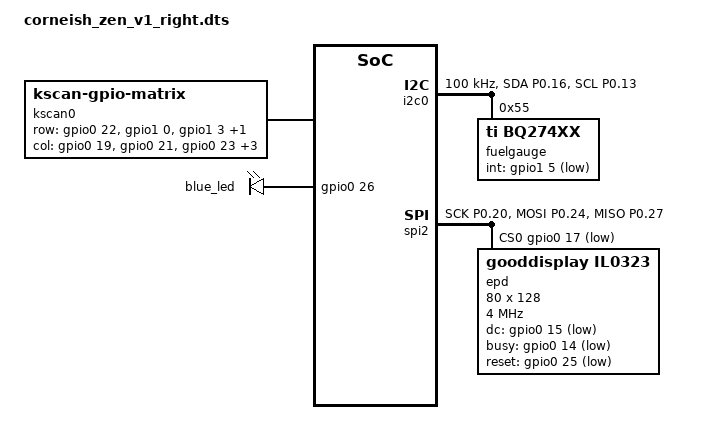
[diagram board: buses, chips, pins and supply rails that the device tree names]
/*
*
* Copyright (c) 2021 Darryl deHaan
* SPDX-License-Identifier: MIT
*
*/

#include "corneish_zen.dtsi"

/{
    chosen {
        zephyr,display = &epd;
        zmk,battery = &fuelgauge;
    };

    kscan0: kscan {
        compatible = "zmk,kscan-gpio-matrix";

        diode-direction = "col2row";
        row-gpios
            = <&gpio0 22 (GPIO_ACTIVE_HIGH | GPIO_PULL_DOWN)>
            , <&gpio1  0 (GPIO_ACTIVE_HIGH | GPIO_PULL_DOWN)>
            , <&gpio1  3 (GPIO_ACTIVE_HIGH | GPIO_PULL_DOWN)>
            , <&gpio1  1 (GPIO_ACTIVE_HIGH | GPIO_PULL_DOWN)>
            ;

        col-gpios
            = <&gpio0 19 GPIO_ACTIVE_HIGH>
            , <&gpio0 21 GPIO_ACTIVE_HIGH>
            , <&gpio0 23 GPIO_ACTIVE_HIGH>
            , <&gpio0 12 GPIO_ACTIVE_HIGH>
            , <&gpio1  9 GPIO_ACTIVE_HIGH>
            , <&gpio0  7 GPIO_ACTIVE_HIGH>
            ;
    };

    leds {
        compatible = "gpio-leds";
        blue_led: led_0 {
            gpios = <&gpio0 26 GPIO_ACTIVE_HIGH>;
        };
    };
};

&default_transform {
    col-offset = <6>;
};

&five_column_transform {
    col-offset = <6>;
};

&pinctrl {
    spi2_default: spi2_default {
        group1 {
            psels = <NRF_PSEL(SPIM_SCK, 0, 20)>,
                <NRF_PSEL(SPIM_MOSI, 0, 24)>,
                <NRF_PSEL(SPIM_MISO, 0, 27)>;
        };
    };

    spi2_sleep: spi2_sleep {
        group1 {
            psels = <NRF_PSEL(SPIM_SCK, 0, 20)>,
                <NRF_PSEL(SPIM_MOSI, 0, 24)>,
                <NRF_PSEL(SPIM_MISO, 0, 27)>;
            low-power-enable;
        };
    };

    i2c0_default: i2c0_default {
        group1 {
            psels = <NRF_PSEL(TWIM_SDA, 0, 16)>,
                <NRF_PSEL(TWIM_SCL, 0, 13)>;
        };
    };

    i2c0_sleep: i2c0_sleep {
        group1 {
            psels = <NRF_PSEL(TWIM_SDA, 0, 16)>,
                <NRF_PSEL(TWIM_SCL, 0, 13)>;
            low-power-enable;
        };
    };
};

&i2c0 {
    status = "okay";
    compatible = "nordic,nrf-twim";
    pinctrl-0 = <&i2c0_default>;
    pinctrl-1 = <&i2c0_sleep>;
    pinctrl-names = "default", "sleep";
    clock-frequency = <100000>;

    fuelgauge: bq274xx@55 {
        compatible = "ti,bq274xx";
        reg = <0x55>;
        design-voltage = <3700>; //Battery Design Volatge in mV
        design-capacity = <180>; //Battery Design Capacity in mAh
        taper-current = <2>; //Battery Taper current in mAh 2.1
        terminate-voltage = <2750>; //Battery Terminate Voltage in mV
        int-gpios = <&gpio1 5 GPIO_ACTIVE_LOW>;
    };
};

&spi2 {
    status = "okay";
    compatible = "nordic,nrf-spim";
    pinctrl-0 = <&spi2_default>;
    pinctrl-1 = <&spi2_sleep>;
    pinctrl-names = "default", "sleep";
    cs-gpios = <&gpio0 17 GPIO_ACTIVE_LOW>;

    epd: il0323@0 {
        compatible = "gooddisplay,il0323";
        reg =  <0>;
        width = <80>;
        height = <128>;
        spi-max-frequency = <4000000>;
        dc-gpios = <&gpio0 15 GPIO_ACTIVE_LOW>;
        busy-gpios = <&gpio0 14 GPIO_ACTIVE_LOW>;
        reset-gpios = <&gpio0 25 GPIO_ACTIVE_LOW>;
        pwr = [03 00 26 26];
        cdi = <0xd2>;
        tcon = <0x22>;
    };
};
